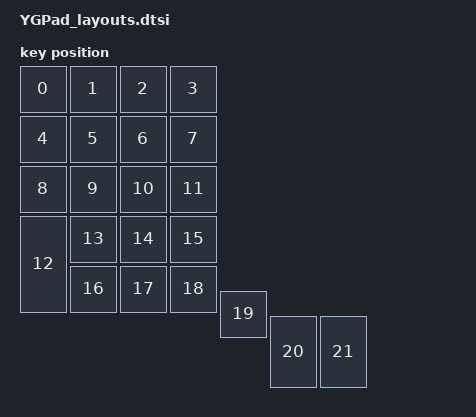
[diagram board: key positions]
#include <physical_layouts.dtsi>

/ {
    ygpad_layout: ygpad_layout {
        compatible = "zmk,physical-layout";
        display-name = "YGPad";
        transform = <&default_transform>;
        kscan = <&kscan0>;

        keys  //                     w   h  x    y     rot    rx    ry
            = <&key_physical_attrs 100 100  0    0     0     0     0>
            , <&key_physical_attrs 100 100  100  0     0     0     0>
            , <&key_physical_attrs 100 100  200  0     0     0     0>
            , <&key_physical_attrs 100 100  300  0     0     0     0>
            , <&key_physical_attrs 100 100  0    100   0     0     0>
            , <&key_physical_attrs 100 100  100  100   0     0     0>
            , <&key_physical_attrs 100 100  200  100   0     0     0>
            , <&key_physical_attrs 100 100  300  100   0     0     0>
            , <&key_physical_attrs 100 100  0    200   0     0     0>
            , <&key_physical_attrs 100 100  100  200   0     0     0>
            , <&key_physical_attrs 100 100  200  200   0     0     0>
            , <&key_physical_attrs 100 100  300  200   0     0     0>
            , <&key_physical_attrs 100 200  0    300   0     0     0> //Ret
            , <&key_physical_attrs 100 100  100  300   0     0     0>
            , <&key_physical_attrs 100 100  200  300   0     0     0>
            , <&key_physical_attrs 100 100  300  300   0     0     0>
            , <&key_physical_attrs 100 100  100  400   0     0     0>
            , <&key_physical_attrs 100 100  200  400   0     0     0>
            , <&key_physical_attrs 100 100  300  400   0     0     0>
            , <&key_physical_attrs 100 100  400  450   0     0     0>
            , <&key_physical_attrs 100 150  500  500   0     0     0>
            , <&key_physical_attrs 100 150  600  500   0     0     0>
            ;
    };
};
